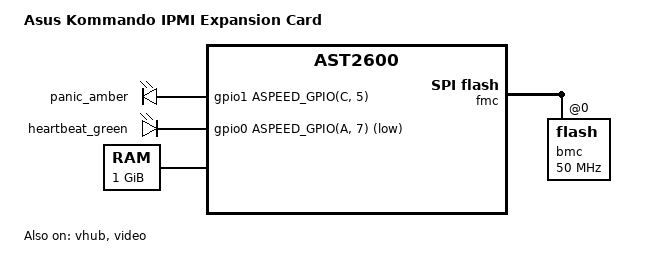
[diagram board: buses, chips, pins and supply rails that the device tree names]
// SPDX-License-Identifier: GPL-2.0-or-later
// Copyright 2025 Anirudh Srinivasan

/dts-v1/;

#include "aspeed-g6.dtsi"
#include "aspeed-g6-pinctrl.dtsi"
#include <dt-bindings/gpio/aspeed-gpio.h>

/ {
	model = "Asus Kommando IPMI Expansion Card";
	compatible = "asus,ast2600-kommando-ipmi-card", "aspeed,ast2600";

	aliases {
		serial4 = &uart5;
	};

	chosen {
		stdout-path = "serial4:115200n8";
	};

	leds {
		compatible = "gpio-leds";

		led-fault {
			gpios = <&gpio1 ASPEED_GPIO(C, 5) GPIO_ACTIVE_HIGH>;
			label = "panic_amber";
			panic-indicator;
			default-state = "off";
		};

		led-heartbeat {
			gpios = <&gpio0 ASPEED_GPIO(A, 7) GPIO_ACTIVE_LOW>;
			label = "heartbeat_green";
			linux,default-trigger = "timer";
		};

	};

	memory@80000000 {
		device_type = "memory";
		reg = <0x80000000 0x40000000>;
	};

	reserved-memory {
		#address-cells = <1>;
		#size-cells = <1>;
		ranges;

		video_engine_memory: video {
			size = <0x04000000>;
			alignment = <0x01000000>;
			compatible = "shared-dma-pool";
			reusable;
		};
	};
};

&fmc {
	status = "okay";

	flash@0 {
		status = "okay";
		m25p,fast-read;
		label = "bmc";
		spi-max-frequency = <50000000>;
#include "openbmc-flash-layout-64.dtsi"
	};
};

&gpio0 {
	gpio-line-names =
	/*A0 0*/	"", "", "", "", "", "", "", "BMC_HBLED",
	/*B0 8*/	"", "", "", "", "", "", "", "",
	/*C0 16*/	"", "", "", "", "", "", "", "",
	/*D0 24*/	"", "", "", "", "", "", "", "",
	/*E0 32*/	"", "", "", "", "", "", "", "",
	/*F0 40*/	"", "", "", "", "", "", "", "",
	/*G0 48*/	"", "", "", "", "", "", "", "",
	/*H0 56*/	"", "", "", "", "", "", "", "",
	/*I0 64*/	"", "", "", "BMC_RSTBTN", "", "", "", "",
	/*J0 72*/	"", "", "", "", "", "", "", "",
	/*K0 80*/	"", "", "", "", "", "", "", "",
	/*L0 88*/	"", "", "", "", "", "", "", "",
	/*M0 96*/	"", "", "", "", "", "", "", "",
	/*N0 104*/	"", "", "", "", "", "", "", "",
	/*O0 112*/	"", "", "", "", "", "", "", "",
	/*P0 120*/	"", "", "", "", "", "", "", "",
	/*Q0 128*/	"", "", "", "", "", "", "", "",
	/*R0 136*/	"", "", "", "", "", "", "", "",
	/*S0 144*/	"", "", "", "", "", "", "", "",
	/*T0 152*/	"", "", "", "", "", "", "", "",
	/*U0 160*/	"", "", "", "", "", "", "", "",
	/*V0 168*/	"", "", "", "", "BMC_PWRBTN", "", "MB_S0_DETECT", "",
	/*W0 176*/	"", "", "", "", "", "", "", "",
	/*X0 184*/	"", "", "", "", "", "", "", "",
	/*Y0 192*/	"", "", "", "", "", "", "", "",
	/*Z0 200*/	"", "", "", "", "", "", "", "";
};

&gpio1 {
	gpio-line-names =
	/*18A0 0*/  "","","","","","","","",
	/*18B0 8*/  "","","","","","","","",
	/*18C0 16*/ "","","","","","BMC_MLED","","",
	/*18D0 24*/ "","","","","","","","",
	/*18E0 32*/ "","","","","","","","";
};

&vhub {
	status = "okay";
};

&video {
	status = "okay";
	memory-region = <&video_engine_memory>;
};
